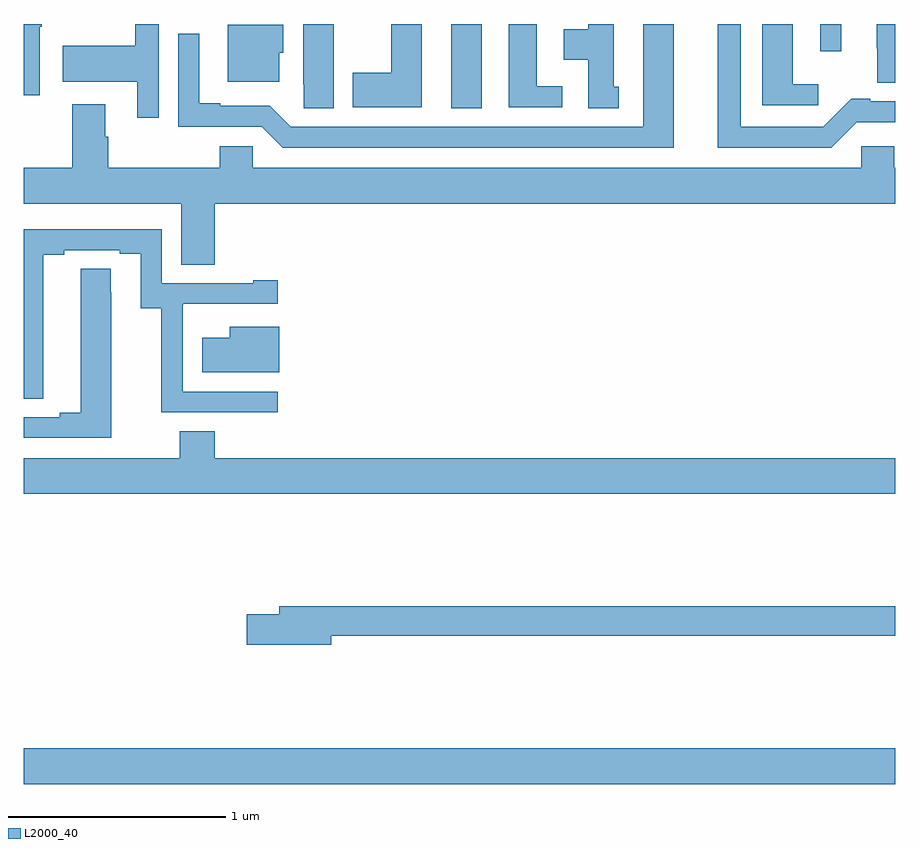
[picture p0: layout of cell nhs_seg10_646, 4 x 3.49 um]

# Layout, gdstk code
import gdstk
lib = gdstk.Library(unit=1e-6, precision=1e-09)
def R(c, l, rs):  # rectangles x0, y0, x1, y1
    for r in rs: c.add(gdstk.rectangle(r[:2], r[2:], *l))
def P(c, l, *ps):  # polygons
    for p in ps: c.add(gdstk.Polygon(p, *l))
L2000_40 = (2000, 40)

nhs_seg10_646 = lib.new_cell('nhs_seg10_646')
R(nhs_seg10_646, L2000_40, [(143,1271.012,147,1271.176), (144.962,1274.113,145.102,1274.5), (146.655,1274.376,146.752,1274.5)])
P(nhs_seg10_646, L2000_40, [(144.424,1274.5),(144.284,1274.5),(144.284,1274.224),(144.285,1274.224),(144.285,1274.113),(144.424,1274.113)],
  [(144.826,1274.5),(144.686,1274.5),(144.686,1274.277),(144.509,1274.277),(144.509,1274.117),(144.826,1274.117)],
  [(146.823,1274.049),(147,1274.049),(147,1274.145),(146.884,1274.145),(146.884,1274.156),(146.798,1274.156),(146.67,1274.028),(146.29,1274.028),(146.29,1274.5),(146.186,1274.5),(146.186,1273.932),(146.706,1273.932)],
  [(145.471,1274.214),(145.354,1274.214),(145.354,1274.5),(145.226,1274.5),(145.226,1274.118),(145.471,1274.118)],
  [(145.732,1274.211),(145.708,1274.211),(145.708,1274.5),(145.592,1274.5),(145.592,1274.476),(145.478,1274.476),(145.478,1274.336),(145.592,1274.336),(145.592,1274.113),(145.732,1274.113)],
  [(143.074,1274.488),(143.082,1274.488),(143.082,1274.5),(143,1274.5),(143,1274.172),(143.074,1274.172)],
  [(147,1274.5),(146.915,1274.5),(146.915,1274.388),(146.917,1274.388),(146.917,1274.23),(147,1274.23)],
  [(143.619,1274.5),(143.511,1274.5),(143.511,1274.4),(143.178,1274.4),(143.178,1274.234),(143.522,1274.234),(143.522,1274.07),(143.619,1274.07)],
  [(145.984,1274.5),(145.844,1274.5),(145.844,1274.028),(144.225,1274.028),(144.129,1274.124),(143.902,1274.124),(143.902,1274.137),(143.806,1274.137),(143.806,1274.455),(143.709,1274.455),(143.709,1274.028),(144.093,1274.028),(144.189,1273.932),(145.984,1273.932)],
  [(146.647,1274.224),(146.53,1274.224),(146.53,1274.5),(146.39,1274.5),(146.39,1274.127),(146.647,1274.127)],
  [(144.172,1274.367),(144.19,1274.367),(144.19,1274.497),(143.936,1274.497),(143.936,1274.234),(144.172,1274.234)],
  [(143.876,1273.676),(147,1273.676),(147,1273.84),(146.996,1273.84),(146.996,1273.938),(146.844,1273.938),(146.844,1273.84),(144.051,1273.84),(144.051,1273.938),(143.9,1273.938),(143.9,1273.84),(143.387,1273.84),(143.387,1273.982),(143.374,1273.982),(143.374,1274.131),(143.222,1274.131),(143.222,1273.84),(143,1273.84),(143,1273.676),(143.723,1273.676),(143.723,1273.396),(143.876,1273.396)],
  [(144.166,1272.813),(143.73,1272.813),(143.73,1273.214),(143.732,1273.214),(143.732,1273.215),(144.166,1273.215),(144.166,1273.324),(144.053,1273.324),(144.053,1273.311),(143.634,1273.311),(143.634,1273.557),(143,1273.557),(143,1272.781),(143.089,1272.781),(143.089,1273.441),(143.185,1273.441),(143.185,1273.461),(143.441,1273.461),(143.441,1273.446),(143.537,1273.446),(143.537,1273.195),(143.632,1273.195),(143.632,1272.717),(144.166,1272.717)],
  [(143.401,1273.268),(143.4,1273.268),(143.4,1273.376),(143.261,1273.376),(143.261,1272.716),(143.165,1272.716),(143.165,1272.696),(143,1272.696),(143,1272.6),(143.401,1272.6)],
  [(144.172,1273.111),(143.945,1273.111),(143.945,1273.06),(143.82,1273.06),(143.82,1272.902),(144.172,1272.902)],
  [(147,1272.508),(143.876,1272.508),(143.876,1272.632),(143.716,1272.632),(143.716,1272.508),(143,1272.508),(143,1272.344),(147,1272.344)],
  [(144.412,1271.692),(147,1271.692),(147,1271.828),(144.173,1271.828),(144.173,1271.792),(144.024,1271.792),(144.024,1271.65),(144.412,1271.65)])

lib.write_gds('nhs_seg10_646.gds')
